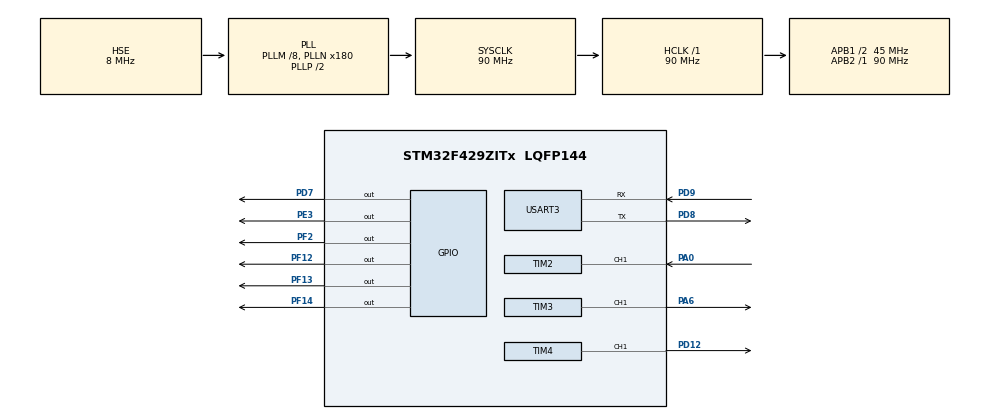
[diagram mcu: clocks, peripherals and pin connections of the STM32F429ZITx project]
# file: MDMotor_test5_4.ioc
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Mcu.Family=STM32F4
Mcu.Name=STM32F429ZITx
Mcu.Package=LQFP144
NVIC.PriorityGroup=NVIC_PRIORITYGROUP_4
NVIC.TIM1_BRK_TIM9_IRQn=true\:0\:0\:false\:false\:true\:true\:true\:true
NVIC.TIM1_CC_IRQn=true\:0\:0\:false\:false\:true\:true\:true\:true
NVIC.TIM1_TRG_COM_TIM11_IRQn=true\:0\:0\:false\:false\:true\:true\:true\:true
NVIC.TIM1_UP_TIM10_IRQn=true\:0\:0\:false\:false\:true\:true\:true\:true
NVIC.TIM2_IRQn=true\:0\:0\:false\:false\:true\:true\:true\:true
NVIC.TIM4_IRQn=true\:0\:0\:false\:false\:true\:true\:true\:true
NVIC.USART3_IRQn=true\:0\:0\:false\:false\:true\:true\:true\:true
PA0/WKUP.Signal=S_TIM2_CH1_ETR
PA13.Mode=Serial_Wire
PA13.Signal=SYS_JTMS-SWDIO
PA14.Mode=Serial_Wire
PA14.Signal=SYS_JTCK-SWCLK
PA6.Signal=S_TIM3_CH1
PD12.Signal=S_TIM4_CH1
PD7.GPIO_ModeDefaultOutputPP=GPIO_MODE_OUTPUT_PP
PD7.GPIO_PuPd=GPIO_PULLUP
PD7.GPIO_Speed=GPIO_SPEED_FREQ_HIGH
PD7.PinState=GPIO_PIN_RESET
PD7.Signal=GPIO_Output
PD8.Mode=Asynchronous
PD8.Signal=USART3_TX
PD9.Mode=Asynchronous
PD9.Signal=USART3_RX
PE3.GPIO_ModeDefaultOutputPP=GPIO_MODE_OUTPUT_PP
PE3.GPIO_PuPd=GPIO_PULLUP
PE3.GPIO_Speed=GPIO_SPEED_FREQ_HIGH
PE3.PinState=GPIO_PIN_RESET
PE3.Signal=GPIO_Output
PF12.GPIO_ModeDefaultOutputPP=GPIO_MODE_OUTPUT_PP
PF12.GPIO_PuPd=GPIO_PULLUP
PF12.GPIO_Speed=GPIO_SPEED_FREQ_HIGH
PF12.PinState=GPIO_PIN_RESET
PF12.Signal=GPIO_Output
PF13.GPIO_ModeDefaultOutputPP=GPIO_MODE_OUTPUT_PP
PF13.GPIO_PuPd=GPIO_PULLUP
PF13.GPIO_Speed=GPIO_SPEED_FREQ_HIGH
PF13.PinState=GPIO_PIN_RESET
PF13.Signal=GPIO_Output
PF14.GPIO_ModeDefaultOutputPP=GPIO_MODE_OUTPUT_PP
PF14.GPIO_PuPd=GPIO_PULLUP
PF14.GPIO_Speed=GPIO_SPEED_FREQ_HIGH
PF14.PinState=GPIO_PIN_RESET
PF14.Signal=GPIO_Output
PF2.GPIO_ModeDefaultOutputPP=GPIO_MODE_OUTPUT_PP
PF2.GPIO_PuPd=GPIO_PULLUP
PF2.GPIO_Speed=GPIO_SPEED_FREQ_HIGH
PF2.PinState=GPIO_PIN_RESET
PF2.Signal=GPIO_Output
PH0/OSC_IN.Mode=HSE-External-Clock-Source
PH0/OSC_IN.Signal=RCC_OSC_IN
PH1/OSC_OUT.Mode=HSE-External-Clock-Source
PH1/OSC_OUT.Signal=RCC_OSC_OUT
ProjectManager.HeapSize=0x200
ProjectManager.StackSize=0x400
ProjectManager.TargetToolchain=STM32CubeIDE
RCC.48MHZClocksFreq_Value=45000000
RCC.AHBFreq_Value=90000000
RCC.APB1CLKDivider=RCC_HCLK_DIV2
RCC.APB1Freq_Value=45000000
RCC.APB1TimFreq_Value=90000000
RCC.APB2Freq_Value=90000000
RCC.APB2TimFreq_Value=90000000
RCC.CortexFreq_Value=90000000
RCC.HCLKFreq_Value=90000000
RCC.HSE_VALUE=8000000
RCC.HSI_VALUE=16000000
RCC.LSE_VALUE=32768
RCC.PLLM=8
RCC.PLLN=180
RCC.PLLSourceVirtual=RCC_PLLSOURCE_HSE
RCC.SYSCLKFreq_VALUE=90000000
RCC.SYSCLKSource=RCC_SYSCLKSOURCE_PLLCLK
RCC.VCOOutputFreq_Value=180000000
SH.S_TIM2_CH1_ETR.0=TIM2_CH1,Input_Capture1_from_TI1
SH.S_TIM3_CH1.0=TIM3_CH1,PWM Generation1 CH1
SH.S_TIM4_CH1.0=TIM4_CH1,PWM Generation1 CH1
TIM1.Period=9999
TIM1.Prescaler=8999
TIM2.Channel-Input_Capture1_from_TI1=TIM_CHANNEL_1
TIM2.ICPolarity_CH1=TIM_INPUTCHANNELPOLARITY_FALLING
TIM2.Period=100
TIM2.Prescaler=9
TIM3.Channel-PWM\ Generation1\ CH1=TIM_CHANNEL_1
TIM3.Period=99
TIM3.Prescaler=89
TIM3.Pulse-PWM\ Generation1\ CH1=3
TIM4.Channel-PWM\ Generation1\ CH1=TIM_CHANNEL_1
TIM4.Period=99
TIM4.Prescaler=89
TIM4.Pulse-PWM\ Generation1\ CH1=3
USART3.VirtualMode=VM_ASYNC
VP_TIM1_VS_ClockSourceINT.Mode=Internal
VP_TIM3_VS_ClockSourceINT.Mode=Internal
VP_TIM4_VS_ClockSourceINT.Mode=Internal
board=custom

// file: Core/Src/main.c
/* USER CODE BEGIN Header */
/**
  ******************************************************************************
  * @file           : main.c
  * @brief          : Main program body
  ******************************************************************************
  * @attention
  *
  * Copyright (c) 2024 STMicroelectronics.
  * All rights reserved.
  *
  * This software is licensed under terms that can be found in the LICENSE file
  * in the root directory of this software component.
  * If no LICENSE file comes with this software, it is provided AS-IS.
  *
  ******************************************************************************
  */
/* USER CODE END Header */
#include "main.h"

/* USER CODE BEGIN PD */

#define TxBufferSize	(countof(TxBuffer) - 1)
#define RxBufferSize	0xFF
#define countof(a)		(sizeof(a) / sizeof(*(a)))

/* USER CODE END PD */

TIM_HandleTypeDef htim1;
TIM_HandleTypeDef htim2;
TIM_HandleTypeDef htim3;
TIM_HandleTypeDef htim4;

UART_HandleTypeDef huart3;

/* USER CODE BEGIN PV */

// asdfasdf
uint8_t TxBuffer[] = "\n\rUART Example 1 (Transmission Success !! )\n\r\n\r";
uint8_t RxBuffer[RxBufferSize];

int m1_hall=0, m2_hall=0;

int m1_rev=0, m2_rev=0;
int m1_deg=0, m2_deg=0;
int m1_deg_10=0, m2_deg_10=0;
int m1_deg_10_p=0, m2_deg_10_p=0;
int m1_deg_1_10=0, m2_deg_1_10=0;
//float m1_deg=0, m2_deg=0;
//float m1_deg_10=0, m2_deg_10=0;
//float m1_deg_1_10=0, m2_deg_1_10=0;
int m1_rpm=0, m2_rpm=0;
int m1_rpm_p=0, m2_rpm_p=0;
int m1_rpm_p_10=0, m2_rpm_p_10=0;

int count_sec = 0;

/* USER CODE END PV */

void SystemClock_Config(void);
static void MX_GPIO_Init(void);
static void MX_TIM3_Init(void);
static void MX_TIM4_Init(void);
static void MX_USART3_UART_Init(void);
static void MX_TIM2_Init(void);
static void MX_TIM1_Init(void);
/* USER CODE BEGIN PFP */

void LED_OnOff(int, int);

/* Usart printf() */
#ifdef __cplusplus
extern "C" int _write(int32_t file, uint8_t *ptr, int32_t len) {
#else
int _write(int32_t file, uint8_t *ptr, int32_t len) {
#endif
	if( HAL_UART_Transmit(&huart3, ptr, len, len) == HAL_OK ) return len;
	else return 0;
}

/* USER CODE END PFP */

int main(void)
{

  /* MCU Configuration--------------------------------------------------------*/

  /* Reset of all peripherals, Initializes the Flash interface and the Systick. */
  HAL_Init();

  /* Configure the system clock */
  SystemClock_Config();

  /* Initialize all configured peripherals */
  MX_GPIO_Init();
  MX_TIM3_Init();
  MX_TIM4_Init();
  MX_USART3_UART_Init();
  MX_TIM2_Init();
  MX_TIM1_Init();
  /* USER CODE BEGIN 2 */

//  LED_OnOff(LED_ALL, 500);
  HAL_TIM_Base_Start_IT(&htim1);

  HAL_TIM_Base_Start_IT(&htim3);
  HAL_TIM_PWM_Start(&htim3, TIM_CHANNEL_1);
  HAL_TIM_Base_Start_IT(&htim4);
  HAL_TIM_PWM_Start(&htim4, TIM_CHANNEL_1);

  HAL_TIM_Base_Start_IT(&htim2);
  HAL_TIM_IC_Start_IT(&htim2, TIM_CHANNEL_1);

  HAL_UART_Transmit(&huart3, (uint8_t*)TxBuffer, TxBufferSize , 0xFFFF);

  /*
  HAL_GPIO_WritePin(GPIOF, GPIO_PIN_12, RESET);	// Motor1 DIR - CCW
  HAL_GPIO_WritePin(GPIOF, GPIO_PIN_13, RESET);	// Motor1 RUN/BRK - RUN
  HAL_GPIO_WritePin(GPIOF, GPIO_PIN_14, RESET);	// Motor1 START/STOP - START

  HAL_GPIO_WritePin(GPIOF, GPIO_PIN_2, RESET);	// Motor2 DIR - CCW
  HAL_GPIO_WritePin(GPIOD, GPIO_PIN_7, RESET);	// Motor2 RUN/BRK - RUN
  HAL_GPIO_WritePin(GPIOE, GPIO_PIN_3, RESET);	// Motor2 START/STOP - START

*/
/* Init Settings */
/*	  HAL_GPIO_WritePin(GPIOF, GPIO_PIN_12, SET);	// Motor1 DIR - CW
	  HAL_GPIO_WritePin(GPIOF, GPIO_PIN_13, SET);	// Motor1 RUN/BRK - BRK
	  HAL_GPIO_WritePin(GPIOF, GPIO_PIN_14, SET);	// Motor1 START/STOP - STOP

	  HAL_GPIO_WritePin(GPIOF, GPIO_PIN_2, SET);	// Motor2 DIR - CW
	  HAL_GPIO_WritePin(GPIOD, GPIO_PIN_7, SET);	// Motor2 RUN/BRK - BRK
	  HAL_GPIO_WritePin(GPIOE, GPIO_PIN_3, SET);	// Motor2 START/STOP - STOP*/

/* First movement */
/*	  HAL_GPIO_WritePin(GPIOF, GPIO_PIN_13, RESET);	// Motor1 RUN/BRK - RUN
  	  HAL_GPIO_WritePin(GPIOF, GPIO_PIN_14, RESET);	// Motor1 START/STOP - START
  	  HAL_GPIO_WritePin(GPIOD, GPIO_PIN_7, RESET);	// Motor2 RUN/BRK - RUN
  	  HAL_GPIO_WritePin(GPIOE, GPIO_PIN_3, RESET);	// Motor2 START/STOP - START

  	  HAL_Delay(5000);

  	  HAL_GPIO_WritePin(GPIOF, GPIO_PIN_13, SET);	// Motor1 RUN/BRK - BRK
  	  HAL_GPIO_WritePin(GPIOD, GPIO_PIN_7, SET);	// Motor2 RUN/BRK - BRK

  	  HAL_Delay(5000);

  	  HAL_GPIO_WritePin(GPIOF, GPIO_PIN_13, RESET);	// Motor1 RUN/BRK - RUN
  	  HAL_GPIO_WritePin(GPIOD, GPIO_PIN_7, RESET);	// Motor2 RUN/BRK - RUN

  	  HAL_Delay(5000);

  	  HAL_GPIO_WritePin(GPIOF, GPIO_PIN_14, SET);	// Motor1 START/STOP - STOP
  	  HAL_GPIO_WritePin(GPIOE, GPIO_PIN_3, SET);	// Motor2 START/STOP - STOP

  	  HAL_Delay(5000);*/

 /* Second movement */
/*	  HAL_GPIO_WritePin(GPIOF, GPIO_PIN_12, RESET);	// Motor1 DIR - CCW
	  HAL_GPIO_WritePin(GPIOF, GPIO_PIN_2, RESET);	// Motor2 DIR - CCW
	  HAL_GPIO_WritePin(GPIOF, GPIO_PIN_13, RESET);	// Motor1 RUN/BRK - RUN
	  HAL_GPIO_WritePin(GPIOF, GPIO_PIN_14, RESET);	// Motor1 START/STOP - START
	  HAL_GPIO_WritePin(GPIOD, GPIO_PIN_7, RESET);	// Motor2 RUN/BRK - RUN
	  HAL_GPIO_WritePin(GPIOE, GPIO_PIN_3, RESET);	// Motor2 START/STOP - START

	  HAL_Delay(5000);

	  HAL_GPIO_WritePin(GPIOF, GPIO_PIN_13, SET);	// Motor1 RUN/BRK - BRK
	  HAL_GPIO_WritePin(GPIOD, GPIO_PIN_7, SET);	// Motor2 RUN/BRK - BRK

	  HAL_Delay(5000);

	  HAL_GPIO_WritePin(GPIOF, GPIO_PIN_13, RESET);	// Motor1 RUN/BRK - RUN
	  HAL_GPIO_WritePin(GPIOD, GPIO_PIN_7, RESET);	// Motor2 RUN/BRK - RUN

	  HAL_Delay(5000);

	  HAL_GPIO_WritePin(GPIOF, GPIO_PIN_14, SET);	// Motor1 START/STOP - STOP
	  HAL_GPIO_WritePin(GPIOE, GPIO_PIN_3, SET);	// Motor2 START/STOP - STOP

	  HAL_Delay(5000);*/

  /* USER CODE END 2 */

  /* Infinite loop */
  /* USER CODE BEGIN WHILE */
  while (1)
  {
	  /*
	  HAL_GPIO_WritePin(GPIOF, GPIO_PIN_13, RESET);	// Motor1 RUN/BRK - RUN
	  HAL_GPIO_WritePin(GPIOF, GPIO_PIN_14, RESET);	// Motor1 START/STOP - START
	  HAL_GPIO_WritePin(GPIOD, GPIO_PIN_7, RESET);	// Motor2 RUN/BRK - RUN
	  HAL_GPIO_WritePin(GPIOE, GPIO_PIN_3, RESET);	// Motor2 START/STOP - START

	  HAL_Delay(5000);

	  HAL_GPIO_WritePin(GPIOF, GPIO_PIN_13, SET);	// Motor1 RUN/BRK - BRK
	  HAL_GPIO_WritePin(GPIOD, GPIO_PIN_7, SET);	// Motor2 RUN/BRK - BRK

	  HAL_Delay(5000);

	  HAL_GPIO_WritePin(GPIOF, GPIO_PIN_13, RESET);	// Motor1 RUN/BRK - RUN
	  HAL_GPIO_WritePin(GPIOD, GPIO_PIN_7, RESET);	// Motor2 RUN/BRK - RUN

	  HAL_Delay(5000);

	  HAL_GPIO_WritePin(GPIOF, GPIO_PIN_14, SET);	// Motor1 START/STOP - STOP
	  HAL_GPIO_WritePin(GPIOE, GPIO_PIN_3, SET);	// Motor2 START/STOP - STOP

	  HAL_Delay(5000);ddd
d
	*/

/*	  printf("Degree: %d \n", m1_deg); // ?��?��?��?��
	  printf("Revolutions: %d \n", m1_rev);
	  printf("Revolutions per Minute: %d \n", m1_rpm);ddddd
	  printf("\n");*/

	  printf("Time: %d \n", count_sec);
	  printf("Hall: %d \n", m1_hall);
	  printf("Degree: %d.%d \n", m1_deg, m1_deg_1_10);
	  printf("Revolutions: %d \n", m1_rev);
	  printf("Revolutions per Minute: %d \n", m1_rpm);
	  printf("\n");

	  HAL_Delay(1000);

    /* USER CODE END WHILE */

  }
}

void SystemClock_Config(void)
{
  RCC_OscInitTypeDef RCC_OscInitStruct = {0};
  RCC_ClkInitTypeDef RCC_ClkInitStruct = {0};

  /** Configure the main internal regulator output voltage
  */
  __HAL_RCC_PWR_CLK_ENABLE();
  __HAL_PWR_VOLTAGESCALING_CONFIG(PWR_REGULATOR_VOLTAGE_SCALE3);

  /** Initializes the RCC Oscillators according to the specified parameters
  * in the RCC_OscInitTypeDef structure.
  */
  RCC_OscInitStruct.OscillatorType = RCC_OSCILLATORTYPE_HSE;
  RCC_OscInitStruct.HSEState = RCC_HSE_BYPASS;
  RCC_OscInitStruct.PLL.PLLState = RCC_PLL_ON;
  RCC_OscInitStruct.PLL.PLLSource = RCC_PLLSOURCE_HSE;
  RCC_OscInitStruct.PLL.PLLM = 8;
  RCC_OscInitStruct.PLL.PLLN = 180;
  RCC_OscInitStruct.PLL.PLLP = RCC_PLLP_DIV2;
  RCC_OscInitStruct.PLL.PLLQ = 4;
  if (HAL_RCC_OscConfig(&RCC_OscInitStruct) != HAL_OK)
  {
    Error_Handler();
  }

  /** Activate the Over-Drive mode
  */
  if (HAL_PWREx_EnableOverDrive() != HAL_OK)
  {
    Error_Handler();
  }

  /** Initializes the CPU, AHB and APB buses clocks
  */
  RCC_ClkInitStruct.ClockType = RCC_CLOCKTYPE_HCLK|RCC_CLOCKTYPE_SYSCLK
                              |RCC_CLOCKTYPE_PCLK1|RCC_CLOCKTYPE_PCLK2;
  RCC_ClkInitStruct.SYSCLKSource = RCC_SYSCLKSOURCE_PLLCLK;
  RCC_ClkInitStruct.AHBCLKDivider = RCC_SYSCLK_DIV1;
  RCC_ClkInitStruct.APB1CLKDivider = RCC_HCLK_DIV2;
  RCC_ClkInitStruct.APB2CLKDivider = RCC_HCLK_DIV1;

  if (HAL_RCC_ClockConfig(&RCC_ClkInitStruct, FLASH_LATENCY_2) != HAL_OK)
  {
    Error_Handler();
  }
}

static void MX_TIM1_Init(void)
{

  TIM_ClockConfigTypeDef sClockSourceConfig = {0};
  TIM_MasterConfigTypeDef sMasterConfig = {0};

  htim1.Instance = TIM1;
  htim1.Init.Prescaler = 8999;
  htim1.Init.CounterMode = TIM_COUNTERMODE_UP;
  htim1.Init.Period = 9999;
  htim1.Init.ClockDivision = TIM_CLOCKDIVISION_DIV1;
  htim1.Init.RepetitionCounter = 0;
  htim1.Init.AutoReloadPreload = TIM_AUTORELOAD_PRELOAD_DISABLE;
  if (HAL_TIM_Base_Init(&htim1) != HAL_OK)
  {
    Error_Handler();
  }
  sClockSourceConfig.ClockSource = TIM_CLOCKSOURCE_INTERNAL;
  if (HAL_TIM_ConfigClockSource(&htim1, &sClockSourceConfig) != HAL_OK)
  {
    Error_Handler();
  }
  sMasterConfig.MasterOutputTrigger = TIM_TRGO_RESET;
  sMasterConfig.MasterSlaveMode = TIM_MASTERSLAVEMODE_DISABLE;
  if (HAL_TIMEx_MasterConfigSynchronization(&htim1, &sMasterConfig) != HAL_OK)
  {
    Error_Handler();
  }

}

static void MX_TIM2_Init(void)
{

  TIM_MasterConfigTypeDef sMasterConfig = {0};
  TIM_IC_InitTypeDef sConfigIC = {0};

  htim2.Instance = TIM2;
  htim2.Init.Prescaler = 9;
  htim2.Init.CounterMode = TIM_COUNTERMODE_UP;
  htim2.Init.Period = 100;
  htim2.Init.ClockDivision = TIM_CLOCKDIVISION_DIV1;
  htim2.Init.AutoReloadPreload = TIM_AUTORELOAD_PRELOAD_DISABLE;
  if (HAL_TIM_IC_Init(&htim2) != HAL_OK)
  {
    Error_Handler();
  }
  sMasterConfig.MasterOutputTrigger = TIM_TRGO_RESET;
  sMasterConfig.MasterSlaveMode = TIM_MASTERSLAVEMODE_DISABLE;
  if (HAL_TIMEx_MasterConfigSynchronization(&htim2, &sMasterConfig) != HAL_OK)
  {
    Error_Handler();
  }
  sConfigIC.ICPolarity = TIM_INPUTCHANNELPOLARITY_FALLING;
  sConfigIC.ICSelection = TIM_ICSELECTION_DIRECTTI;
  sConfigIC.ICPrescaler = TIM_ICPSC_DIV1;
  sConfigIC.ICFilter = 0;
  if (HAL_TIM_IC_ConfigChannel(&htim2, &sConfigIC, TIM_CHANNEL_1) != HAL_OK)
  {
    Error_Handler();
  }

}

static void MX_TIM3_Init(void)
{

  TIM_ClockConfigTypeDef sClockSourceConfig = {0};
  TIM_MasterConfigTypeDef sMasterConfig = {0};
  TIM_OC_InitTypeDef sConfigOC = {0};

  htim3.Instance = TIM3;
  htim3.Init.Prescaler = 89;
  htim3.Init.CounterMode = TIM_COUNTERMODE_UP;
  htim3.Init.Period = 99;
  htim3.Init.ClockDivision = TIM_CLOCKDIVISION_DIV1;
  htim3.Init.AutoReloadPreload = TIM_AUTORELOAD_PRELOAD_DISABLE;
  if (HAL_TIM_Base_Init(&htim3) != HAL_OK)
  {
    Error_Handler();
  }
  sClockSourceConfig.ClockSource = TIM_CLOCKSOURCE_INTERNAL;
  if (HAL_TIM_ConfigClockSource(&htim3, &sClockSourceConfig) != HAL_OK)
  {
    Error_Handler();
  }
  if (HAL_TIM_PWM_Init(&htim3) != HAL_OK)
  {
    Error_Handler();
  }
  sMasterConfig.MasterOutputTrigger = TIM_TRGO_RESET;
  sMasterConfig.MasterSlaveMode = TIM_MASTERSLAVEMODE_DISABLE;
  if (HAL_TIMEx_MasterConfigSynchronization(&htim3, &sMasterConfig) != HAL_OK)
  {
    Error_Handler();
  }
  sConfigOC.OCMode = TIM_OCMODE_PWM1;
  sConfigOC.Pulse = 3;
  sConfigOC.OCPolarity = TIM_OCPOLARITY_HIGH;
  sConfigOC.OCFastMode = TIM_OCFAST_DISABLE;
  if (HAL_TIM_PWM_ConfigChannel(&htim3, &sConfigOC, TIM_CHANNEL_1) != HAL_OK)
  {
    Error_Handler();
  }
  HAL_TIM_MspPostInit(&htim3);

}

static void MX_TIM4_Init(void)
{

  TIM_ClockConfigTypeDef sClockSourceConfig = {0};
  TIM_MasterConfigTypeDef sMasterConfig = {0};
  TIM_OC_InitTypeDef sConfigOC = {0};

  htim4.Instance = TIM4;
  htim4.Init.Prescaler = 89;
  htim4.Init.CounterMode = TIM_COUNTERMODE_UP;
  htim4.Init.Period = 99;
  htim4.Init.ClockDivision = TIM_CLOCKDIVISION_DIV1;
  htim4.Init.AutoReloadPreload = TIM_AUTORELOAD_PRELOAD_DISABLE;
  if (HAL_TIM_Base_Init(&htim4) != HAL_OK)
  {
    Error_Handler();
  }
  sClockSourceConfig.ClockSource = TIM_CLOCKSOURCE_INTERNAL;
  if (HAL_TIM_ConfigClockSource(&htim4, &sClockSourceConfig) != HAL_OK)
  {
    Error_Handler();
  }
  if (HAL_TIM_PWM_Init(&htim4) != HAL_OK)
  {
    Error_Handler();
  }
  sMasterConfig.MasterOutputTrigger = TIM_TRGO_RESET;
  sMasterConfig.MasterSlaveMode = TIM_MASTERSLAVEMODE_DISABLE;
  if (HAL_TIMEx_MasterConfigSynchronization(&htim4, &sMasterConfig) != HAL_OK)
  {
    Error_Handler();
  }
  sConfigOC.OCMode = TIM_OCMODE_PWM1;
  sConfigOC.Pulse = 3;
  sConfigOC.OCPolarity = TIM_OCPOLARITY_HIGH;
  sConfigOC.OCFastMode = TIM_OCFAST_DISABLE;
  if (HAL_TIM_PWM_ConfigChannel(&htim4, &sConfigOC, TIM_CHANNEL_1) != HAL_OK)
  {
    Error_Handler();
  }
  HAL_TIM_MspPostInit(&htim4);

}

static void MX_USART3_UART_Init(void)
{

  huart3.Instance = USART3;
  huart3.Init.BaudRate = 115200;
  huart3.Init.WordLength = UART_WORDLENGTH_8B;
  huart3.Init.StopBits = UART_STOPBITS_1;
  huart3.Init.Parity = UART_PARITY_NONE;
  huart3.Init.Mode = UART_MODE_TX_RX;
  huart3.Init.HwFlowCtl = UART_HWCONTROL_NONE;
  huart3.Init.OverSampling = UART_OVERSAMPLING_16;
  if (HAL_UART_Init(&huart3) != HAL_OK)
  {
    Error_Handler();
  }

}

static void MX_GPIO_Init(void)
{
  GPIO_InitTypeDef GPIO_InitStruct = {0};

  /* GPIO Ports Clock Enable */
  __HAL_RCC_GPIOE_CLK_ENABLE();
  __HAL_RCC_GPIOF_CLK_ENABLE();
  __HAL_RCC_GPIOH_CLK_ENABLE();
  __HAL_RCC_GPIOA_CLK_ENABLE();
  __HAL_RCC_GPIOD_CLK_ENABLE();

  /*Configure GPIO pin Output Level */
  HAL_GPIO_WritePin(GPIOE, GPIO_PIN_3, GPIO_PIN_RESET);

  /*Configure GPIO pin Output Level */
  HAL_GPIO_WritePin(GPIOF, GPIO_PIN_2|GPIO_PIN_12|GPIO_PIN_13|GPIO_PIN_14, GPIO_PIN_RESET);

  /*Configure GPIO pin Output Level */
  HAL_GPIO_WritePin(GPIOD, GPIO_PIN_7, GPIO_PIN_RESET);

  /*Configure GPIO pin : PE3 */
  GPIO_InitStruct.Pin = GPIO_PIN_3;
  GPIO_InitStruct.Mode = GPIO_MODE_OUTPUT_PP;
  GPIO_InitStruct.Pull = GPIO_PULLUP;
  GPIO_InitStruct.Speed = GPIO_SPEED_FREQ_HIGH;
  HAL_GPIO_Init(GPIOE, &GPIO_InitStruct);

  /*Configure GPIO pins : PF2 PF12 PF13 PF14 */
  GPIO_InitStruct.Pin = GPIO_PIN_2|GPIO_PIN_12|GPIO_PIN_13|GPIO_PIN_14;
  GPIO_InitStruct.Mode = GPIO_MODE_OUTPUT_PP;
  GPIO_InitStruct.Pull = GPIO_PULLUP;
  GPIO_InitStruct.Speed = GPIO_SPEED_FREQ_HIGH;
  HAL_GPIO_Init(GPIOF, &GPIO_InitStruct);

  /*Configure GPIO pin : PD7 */
  GPIO_InitStruct.Pin = GPIO_PIN_7;
  GPIO_InitStruct.Mode = GPIO_MODE_OUTPUT_PP;
  GPIO_InitStruct.Pull = GPIO_PULLUP;
  GPIO_InitStruct.Speed = GPIO_SPEED_FREQ_HIGH;
  HAL_GPIO_Init(GPIOD, &GPIO_InitStruct);

}

/* USER CODE BEGIN 4 */
/*
void LED_OnOff(int led, int interval)
{
	HAL_GPIO_WritePin(GPIO_LED, led, GPIO_PIN_SET );
	HAL_GPIO_WritePin(GPIO_LED_Nucleo, led, GPIO_PIN_SET );
	HAL_Delay(interval);
	HAL_GPIO_WritePin(GPIO_LED, led, GPIO_PIN_RESET );
	HAL_GPIO_WritePin(GPIO_LED_Nucleo, led, GPIO_PIN_RESET );
}*/
/*
void HAL_TIM_PeriodElapsedCallback(TIM_HandleTypeDef *htim)
{
	HAL_GPIO_TogglePin(GPIO_LED, LED_ALL);
}
*/

void HAL_TIM_IC_CaptureCallback(TIM_HandleTypeDef *htim)
{
	if ( htim->Instance == TIM2){
		if(htim->Channel == HAL_TIM_ACTIVE_CHANNEL_1)
		{
			m1_hall = m1_hall + 1;

			/*
			m1_deg_10 = m1_hall * 15;
			m1_deg = m1_deg_10 / 10;
			m1_deg_1_10 = m1_deg_10 % 10;

			m1_rpm = (m1_deg_10 - m1_deg_10_p) * 60 / (1 * 10);

			m1_deg_10_p = m1_deg_10;
*/

			if(m1_hall==240)
			{
				m1_hall = 0;

//				m1_deg++;

				m1_rev++;
			}

/*		  	printf("%d \n", m1_deg);
			printf("%d \n", m1_rev);
			printf("\n");*/
		}

	}

}

void HAL_TIM_PeriodElapsedCallback(TIM_HandleTypeDef *htim)
{
	if ( htim->Instance == TIM1)
	{
		count_sec++;

/*		m1_deg_10 = m1_hall * 15;

		m1_deg = m1_deg_10 / 10;

		m1_rpm = m1_deg_10 * 60 / 10;*/

		/* wheel's rpm */
		m1_deg_10 = m1_hall * 15;	// Multiply by 10 to leave the first decimal place.
		m1_deg = m1_deg_10 / 10;	// Degree's Integer part
		m1_deg_1_10 = m1_deg_10 % 10;	// Degree's Decimal part

		if(m1_deg_10<m1_deg_10_p)	m1_deg_10_p = m1_deg_10_p - 360;

		m1_rpm = (m1_deg_10 - m1_deg_10_p) / (6 * 1 * 10);

		m1_deg_10_p = m1_deg_10;

		/* motor rpm */
/*		m1_deg_10 = m1_hall * 300;	// Multiply by 10 to leave the first decimal place.
		m1_deg = m1_deg_10 / 10;	// Degree's Integer part
		m1_deg_1_10 = m1_deg_10 % 10;	// Degree's Decimal part

		if(m1_deg_10<m1_deg_10_p)	m1_deg_10_p = m1_deg_10_p - 360;

		m1_rpm = (m1_deg_10 - m1_deg_10_p) / (6 * 1 * 10);

		m1_deg_10_p = m1_deg_10;*/

	}

}

/* USER CODE END 4 */

void Error_Handler(void)
{
  __disable_irq();
  while (1)
  {
  }
}
